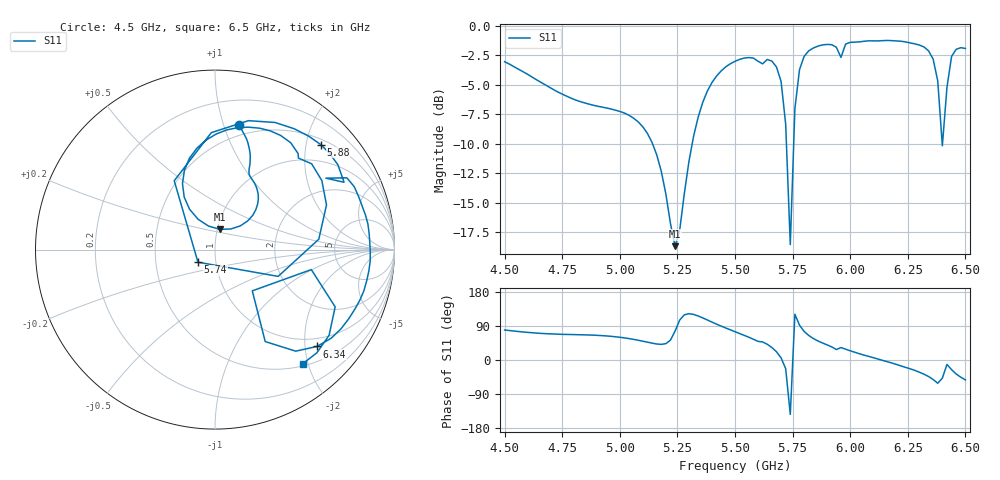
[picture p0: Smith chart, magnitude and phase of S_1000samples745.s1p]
! TOUCHSTONE file generated by CST MICROWAVE STUDIO
! Date and time: Sat Oct 29 06:02:39 2022
! Project name: L.cst
! Parameters = {Di=1.27; Epsilon_r=1.56; InnerDiameter=1.27; Length=2; Lf=10; Lg=60; OuterConductorThickness=0.2921; OuterDiameter=3.6; Wf=3; Wp=41.2; de=1.5; df=6.8; g=0.8; gx=1.94744; gy=3.595; h=2.34; hf=1.524; px=14.6917; py=13.9464; w=9.7; wx=12.7443; wy=10.3514}
! Header version: 2018
! Port assignment regex: !\s*Touchstone port\s*([0-9]+)\s*=\s*(CST MWS port|CST DS port)\s*([0-9]+|Zmin|Zmax)\s*\(\"(.*)\"\)(\s*mode\s*([0-9]+))?.*
! Touchstone port assignment:
! Touchstone port 1 = CST MWS port 1 ("")
# GHz S DB R 50
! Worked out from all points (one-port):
!   101 points, 4.5 GHz to 6.5 GHz, reference 50 ohm
!   lowest |S11| = -18.7 dB at 5.24 GHz (marker M1), VSWR 1.26, Z = 51.4 + j11.8 ohm
!   |S11| at or under -10 dB: 5.142 GHz to 5.314 GHz (172.3 MHz wide, 3.3 % of centre); 5.723 GHz to 5.755 GHz (31.61 MHz wide, 0.551 % of centre); 6.39936 GHz to 6.40071 GHz (1.35 MHz wide, 0.0211 % of centre)
!   S11 on the Smith chart (normalised r, x): 4.5 GHz: 0.41, +1.12; 5.74 GHz: 0.82, -0.12; 5.88 GHz: 0.61, +2.29; 6.34 GHz: 0.81, -2.26; 6.5 GHz: 0.54, -1.91
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4.5  -3.04 79.1
4.76  -5.88 67.6
5  -7.26 59.9
5.14  -9.90 44.5
5.24  -18.70 76.5
5.26  -17.33 105.4
5.36  -6.49 111.1
5.5  -3.01 74.7
5.64  -2.85 41.6
5.68  -3.49 21.8
5.7  -4.71 5.7
5.72  -8.35 -23.0
5.74  -18.56 -143.5
5.76  -7.02 120.6
5.78  -3.71 91.8
5.8  -2.59 75.5
5.88  -1.62 44.8
5.94  -1.82 27.5
5.96  -2.68 32.8
6  -1.40 24.3
6.14  -1.26 -0.9
6.26  -1.44 -23.1
6.34  -2.12 -43.5
6.38  -4.68 -61.4
6.4  -10.18 -47.9
6.42  -5.22 -11.7
6.44  -2.60 -25.5
6.5  -1.92 -52.5
